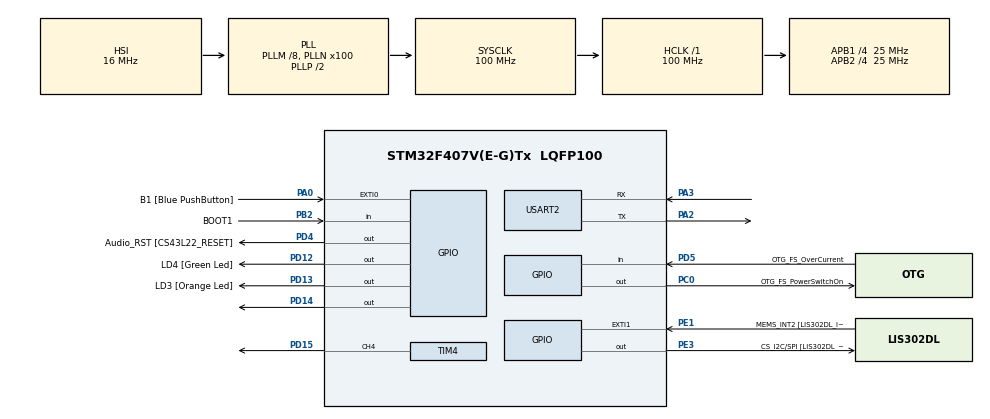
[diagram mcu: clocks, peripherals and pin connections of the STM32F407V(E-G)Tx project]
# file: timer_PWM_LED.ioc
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Mcu.Family=STM32F4
Mcu.Name=STM32F407V(E-G)Tx
Mcu.Package=LQFP100
NVIC.PriorityGroup=NVIC_PRIORITYGROUP_0
NVIC.TIM4_IRQn=true\:0\:0\:false\:false\:true\:true\:true\:true
NVIC.USART2_IRQn=true\:0\:0\:false\:false\:true\:true\:true\:true
PA0-WKUP.GPIO_Label=B1 [Blue PushButton]
PA0-WKUP.Signal=GPXTI0
PA10.GPIO_Label=OTG_FS_ID
PA10.GPIO_Mode=GPIO_MODE_AF_PP
PA10.GPIO_PuPd=GPIO_NOPULL
PA10.GPIO_Speed=GPIO_SPEED_FREQ_LOW
PA10.Signal=USB_OTG_FS_ID
PA11.GPIO_Label=OTG_FS_DM
PA11.GPIO_Mode=GPIO_MODE_AF_PP
PA11.GPIO_PuPd=GPIO_NOPULL
PA11.GPIO_Speed=GPIO_SPEED_FREQ_LOW
PA11.Signal=USB_OTG_FS_DM
PA12.GPIO_Label=OTG_FS_DP
PA12.GPIO_Mode=GPIO_MODE_AF_PP
PA12.GPIO_PuPd=GPIO_NOPULL
PA12.GPIO_Speed=GPIO_SPEED_FREQ_LOW
PA12.Signal=USB_OTG_FS_DP
PA13.GPIO_Label=SWDIO
PA13.Signal=SYS_JTMS-SWDIO
PA14.GPIO_Label=SWCLK
PA14.Signal=SYS_JTCK-SWCLK
PA2.Mode=Asynchronous
PA2.Signal=USART2_TX
PA3.Mode=Asynchronous
PA3.Signal=USART2_RX
PA4.GPIO_Label=I2S3_WS [CS43L22_LRCK]
PA4.GPIO_Mode=GPIO_MODE_AF_PP
PA4.GPIO_PuPd=GPIO_NOPULL
PA4.GPIO_Speed=GPIO_SPEED_FREQ_LOW
PA4.Signal=I2S3_WS
PA5.GPIO_Label=SPI1_SCK [LIS302DL_SCL/SPC]
PA5.GPIO_Mode=GPIO_MODE_AF_PP
PA5.GPIO_PuPd=GPIO_NOPULL
PA5.GPIO_Speed=GPIO_SPEED_FREQ_LOW
PA5.Signal=SPI1_SCK
PA6.GPIO_Label=SPI1_MISO [LIS302DL_SDO]
PA6.GPIO_Mode=GPIO_MODE_AF_PP
PA6.GPIO_PuPd=GPIO_NOPULL
PA6.GPIO_Speed=GPIO_SPEED_FREQ_LOW
PA6.Signal=SPI1_MISO
PA7.GPIO_Label=SPI1_MOSI [LIS302DL_SDA/SDI/SDO]
PA7.GPIO_Mode=GPIO_MODE_AF_PP
PA7.GPIO_PuPd=GPIO_NOPULL
PA7.GPIO_Speed=GPIO_SPEED_FREQ_LOW
PA7.Signal=SPI1_MOSI
PA9.GPIO_Label=VBUS_FS
PA9.GPIO_Mode=GPIO_MODE_INPUT
PA9.GPIO_PuPd=GPIO_NOPULL
PA9.Signal=USB_OTG_FS_VBUS
PB10.GPIO_Label=CLK_IN [MP45DT02_CLK]
PB10.GPIO_Mode=GPIO_MODE_AF_PP
PB10.GPIO_PuPd=GPIO_NOPULL
PB10.GPIO_Speed=GPIO_SPEED_FREQ_LOW
PB10.Signal=I2S2_CK
PB2.GPIO_Label=BOOT1
PB2.GPIO_Mode=GPIO_MODE_INPUT
PB2.GPIO_PuPd=GPIO_NOPULL
PB2.Signal=GPIO_Input
PB3.GPIO_Label=SWO
PB3.Signal=SYS_JTDO-SWO
PB6.GPIO_Label=Audio_SCL [CS43L22_SCL]
PB6.GPIO_Mode=GPIO_MODE_AF_OD
PB6.GPIO_PuPd=GPIO_NOPULL
PB6.GPIO_Speed=GPIO_SPEED_FREQ_LOW
PB6.Signal=I2C1_SCL
PB9.GPIO_Label=Audio_SDA [CS43L22_SDA]
PB9.GPIO_Mode=GPIO_MODE_AF_OD
PB9.GPIO_PuPd=GPIO_NOPULL
PB9.GPIO_Speed=GPIO_SPEED_FREQ_LOW
PB9.Signal=I2C1_SDA
PC0.GPIO_Label=OTG_FS_PowerSwitchOn
PC0.GPIO_PuPd=GPIO_NOPULL
PC0.GPIO_Speed=GPIO_SPEED_FREQ_LOW
PC0.PinState=GPIO_PIN_SET
PC0.Signal=GPIO_Output
PC10.GPIO_Label=I2S3_SCK [CS43L22_SCLK]
PC10.GPIO_Mode=GPIO_MODE_AF_PP
PC10.GPIO_PuPd=GPIO_NOPULL
PC10.GPIO_Speed=GPIO_SPEED_FREQ_LOW
PC10.Signal=I2S3_CK
PC12.GPIO_Label=I2S3_SD [CS43L22_SDIN]
PC12.GPIO_Mode=GPIO_MODE_AF_PP
PC12.GPIO_PuPd=GPIO_NOPULL
PC12.GPIO_Speed=GPIO_SPEED_FREQ_LOW
PC12.Signal=I2S3_SD
PC14-OSC32_IN.GPIO_Label=PC14-OSC32_IN
PC14-OSC32_IN.Signal=RCC_OSC32_IN
PC15-OSC32_OUT.GPIO_Label=PC15-OSC32_OUT
PC15-OSC32_OUT.Signal=RCC_OSC32_OUT
PC3.GPIO_Label=PDM_OUT [MP45DT02_DOUT]
PC3.GPIO_Mode=GPIO_MODE_AF_PP
PC3.GPIO_PuPd=GPIO_NOPULL
PC3.GPIO_Speed=GPIO_SPEED_FREQ_LOW
PC3.Signal=I2S2_SD
PC7.GPIO_Label=I2S3_MCK [CS43L22_MCLK]
PC7.GPIO_Mode=GPIO_MODE_AF_PP
PC7.GPIO_PuPd=GPIO_NOPULL
PC7.GPIO_Speed=GPIO_SPEED_FREQ_LOW
PC7.Signal=I2S3_MCK
PD12.GPIO_Label=LD4 [Green Led]
PD12.GPIO_PuPd=GPIO_NOPULL
PD12.GPIO_Speed=GPIO_SPEED_FREQ_LOW
PD12.Signal=GPIO_Output
PD13.GPIO_Label=LD3 [Orange Led]
PD13.GPIO_PuPd=GPIO_NOPULL
PD13.GPIO_Speed=GPIO_SPEED_FREQ_LOW
PD13.Signal=GPIO_Output
PD14.Signal=GPIO_Output
PD15.Signal=S_TIM4_CH4
PD4.GPIO_Label=Audio_RST [CS43L22_RESET]
PD4.GPIO_PuPd=GPIO_NOPULL
PD4.GPIO_Speed=GPIO_SPEED_FREQ_LOW
PD4.Signal=GPIO_Output
PD5.GPIO_Label=OTG_FS_OverCurrent
PD5.GPIO_Mode=GPIO_MODE_INPUT
PD5.GPIO_PuPd=GPIO_NOPULL
PD5.Signal=GPIO_Input
PE1.GPIO_Label=MEMS_INT2 [LIS302DL_INT2]
PE1.GPIO_ModeDefaultEXTI=GPIO_MODE_EVT_RISING
PE1.GPIO_PuPd=GPIO_NOPULL
PE1.Signal=GPXTI1
PE3.GPIO_Label=CS_I2C/SPI [LIS302DL_CS_I2C/SPI]
PE3.GPIO_PuPd=GPIO_NOPULL
PE3.GPIO_Speed=GPIO_SPEED_FREQ_LOW
PE3.Signal=GPIO_Output
PH0-OSC_IN.GPIO_Label=PH0-OSC_IN
PH0-OSC_IN.Signal=RCC_OSC_IN
PH1-OSC_OUT.GPIO_Label=PH1-OSC_OUT
PH1-OSC_OUT.Signal=RCC_OSC_OUT
ProjectManager.HeapSize=0x200
ProjectManager.StackSize=0x400
ProjectManager.TargetToolchain=STM32CubeIDE
RCC.48MHZClocksFreq_Value=28571428.57142857
RCC.AHBFreq_Value=100000000
RCC.APB1CLKDivider=RCC_HCLK_DIV4
RCC.APB1Freq_Value=25000000
RCC.APB1TimFreq_Value=50000000
RCC.APB2CLKDivider=RCC_HCLK_DIV4
RCC.APB2Freq_Value=25000000
RCC.APB2TimFreq_Value=50000000
RCC.CortexFreq_Value=100000000
RCC.HCLKFreq_Value=100000000
RCC.HSE_VALUE=8000000
RCC.HSI_VALUE=16000000
RCC.LSE_VALUE=32768
RCC.PLLM=8
RCC.PLLN=100
RCC.PLLQ=7
RCC.SYSCLKFreq_VALUE=100000000
RCC.SYSCLKSource=RCC_SYSCLKSOURCE_PLLCLK
RCC.VCOOutputFreq_Value=200000000
SH.S_TIM4_CH4.0=TIM4_CH4,PWM Generation4 CH4
TIM4.AutoReloadPreload=TIM_AUTORELOAD_PRELOAD_ENABLE
TIM4.Channel-PWM\ Generation4\ CH4=TIM_CHANNEL_4
TIM4.Period=9999
TIM4.Prescaler=4
USART2.VirtualMode=VM_ASYNC
VP_TIM4_VS_ClockSourceINT.Mode=Internal
board=STM32F407G-DISC1

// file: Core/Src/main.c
/* USER CODE BEGIN Header */
/**
 ******************************************************************************
 * @file           : main.c
 * @brief          : Main program body
 ******************************************************************************
 * @attention
 *
 * Copyright (c) 2024 STMicroelectronics.
 * All rights reserved.
 *
 * This software is licensed under terms that can be found in the LICENSE file
 * in the root directory of this software component.
 * If no LICENSE file comes with this software, it is provided AS-IS.
 *
 ******************************************************************************
 */
/* USER CODE END Header */
#include "main.h"

/* USER CODE BEGIN Includes */
#include <string.h>
#include <stdio.h>
#include <stdarg.h>
#include <stdlib.h>
/* USER CODE END Includes */

TIM_HandleTypeDef htim4;

UART_HandleTypeDef huart2;

void SystemClock_Config(void);
static void MX_GPIO_Init(void);
static void MX_USART2_UART_Init(void);
static void MX_TIM4_Init(void);
/* USER CODE BEGIN PFP */
void logUART(const char *format, ...);
/* USER CODE END PFP */

/* USER CODE BEGIN 0 */
/**
 * Logging to UART to help debug.
 */
void logUART(const char *format, ...) {
	char usr_msg[100]; // Buffer for the formatted message
	va_list args;

	// Initialize the va_list variable with the last known fixed parameter (in this case, 'format')
	va_start(args, format);

	// Use vsnprintf to safely format the string into usr_msg
	// vsnprintf returns the number of characters that would have been written if usr_msg had been sufficiently large
	vsnprintf(usr_msg, sizeof(usr_msg), format, args);

	// Clean up the va_list when we're done with it
	va_end(args);

	// Transmit the formatted string via UART
	HAL_UART_Transmit(&huart2, (uint8_t*) usr_msg, strlen(usr_msg),
	HAL_MAX_DELAY);
}

/* USER CODE END 0 */

int main(void) {
	/* USER CODE BEGIN 1 */
	// This program will take TIM4 Ch4 output and drive LED.
	// It will gradually increase the led brightness up to 100% within 1 second and decrease it again
	// within 1 second.
	/* USER CODE END 1 */

	/* MCU Configuration--------------------------------------------------------*/

	/* Reset of all peripherals, Initializes the Flash interface and the Systick. */
	HAL_Init();

	/* Configure the system clock */
	SystemClock_Config();

	/* Initialize all configured peripherals */
	MX_GPIO_Init();
	MX_USART2_UART_Init();
	MX_TIM4_Init();
	/* USER CODE BEGIN 2 */
	if (HAL_TIM_Base_Start_IT(&htim4) != HAL_OK) {
		logUART("Error initializing Base!!\r\n");
		Error_Handler();
	}

	if (HAL_TIM_PWM_Start(&htim4, TIM_CHANNEL_4)) {
		logUART("Error initializing OC Ch1!!\r\n");
		Error_Handler();
	}

	/* USER CODE END 2 */

	/* Infinite loop */
	/* USER CODE BEGIN WHILE */
	uint16_t brightness = 0;
	while (1) {
		while (brightness < htim4.Init.Period) {
			brightness += 10;
			// Increase the value of the Compare Capture Register (CCR) register which is the pulse.
			// This means for every interrupt intervals (set to 0.001s or 1 ms)
			// we increase by 10 for brightness
			// it will reach full intensity at 1s.
			// What happen is the counter will match the value of CCR before it toggles back.
			// Once the brightness value reaches the pulse/period == 9999, it will exit this while loop.
			__HAL_TIM_SET_COMPARE(&htim4, TIM_CHANNEL_4, brightness);
			HAL_Delay(1);

		}
		// If we reach here the brightness is already at max (at 9999)
		while (brightness > 0) {
			brightness -= 10;
			__HAL_TIM_SET_COMPARE(&htim4, TIM_CHANNEL_4, brightness);
			HAL_Delay(1);

		}
		/* USER CODE END WHILE */

	}
}

void SystemClock_Config(void) {
	RCC_OscInitTypeDef RCC_OscInitStruct = { 0 };
	RCC_ClkInitTypeDef RCC_ClkInitStruct = { 0 };

	/** Configure the main internal regulator output voltage
	 */
	__HAL_RCC_PWR_CLK_ENABLE();
	__HAL_PWR_VOLTAGESCALING_CONFIG(PWR_REGULATOR_VOLTAGE_SCALE1);

	/** Initializes the RCC Oscillators according to the specified parameters
	 * in the RCC_OscInitTypeDef structure.
	 */
	RCC_OscInitStruct.OscillatorType = RCC_OSCILLATORTYPE_HSI;
	RCC_OscInitStruct.HSIState = RCC_HSI_ON;
	RCC_OscInitStruct.HSICalibrationValue = RCC_HSICALIBRATION_DEFAULT;
	RCC_OscInitStruct.PLL.PLLState = RCC_PLL_ON;
	RCC_OscInitStruct.PLL.PLLSource = RCC_PLLSOURCE_HSI;
	RCC_OscInitStruct.PLL.PLLM = 8;
	RCC_OscInitStruct.PLL.PLLN = 100;
	RCC_OscInitStruct.PLL.PLLP = RCC_PLLP_DIV2;
	RCC_OscInitStruct.PLL.PLLQ = 7;
	if (HAL_RCC_OscConfig(&RCC_OscInitStruct) != HAL_OK) {
		Error_Handler();
	}

	/** Initializes the CPU, AHB and APB buses clocks
	 */
	RCC_ClkInitStruct.ClockType = RCC_CLOCKTYPE_HCLK | RCC_CLOCKTYPE_SYSCLK
			| RCC_CLOCKTYPE_PCLK1 | RCC_CLOCKTYPE_PCLK2;
	RCC_ClkInitStruct.SYSCLKSource = RCC_SYSCLKSOURCE_PLLCLK;
	RCC_ClkInitStruct.AHBCLKDivider = RCC_SYSCLK_DIV1;
	RCC_ClkInitStruct.APB1CLKDivider = RCC_HCLK_DIV4;
	RCC_ClkInitStruct.APB2CLKDivider = RCC_HCLK_DIV4;

	if (HAL_RCC_ClockConfig(&RCC_ClkInitStruct, FLASH_LATENCY_3) != HAL_OK) {
		Error_Handler();
	}
}

static void MX_TIM4_Init(void) {

	TIM_ClockConfigTypeDef sClockSourceConfig = { 0 };
	TIM_MasterConfigTypeDef sMasterConfig = { 0 };
	TIM_OC_InitTypeDef sConfigOC = { 0 };

	/* USER CODE BEGIN TIM4_Init 1 */
	// Set Prescaler to 4 and Period to 10000-1;
	// So that the desired interrupt intervals to 0.001s or 1ms.
	// This means at every 1ms there will be 1 full wave form or signal.
	// That is there will be rising and falling edge.
	// The duration between high and low is determined by the CCR register.
	// Which is the number of pulse we want the tick to reach before it toggles.
	/* USER CODE END TIM4_Init 1 */
	htim4.Instance = TIM4;
	htim4.Init.Prescaler = 4;
	htim4.Init.CounterMode = TIM_COUNTERMODE_UP;
	htim4.Init.Period = 9999;
	htim4.Init.ClockDivision = TIM_CLOCKDIVISION_DIV1;
	htim4.Init.AutoReloadPreload = TIM_AUTORELOAD_PRELOAD_ENABLE;
	if (HAL_TIM_Base_Init(&htim4) != HAL_OK) {
		Error_Handler();
	}
	sClockSourceConfig.ClockSource = TIM_CLOCKSOURCE_INTERNAL;
	if (HAL_TIM_ConfigClockSource(&htim4, &sClockSourceConfig) != HAL_OK) {
		Error_Handler();
	}
	if (HAL_TIM_PWM_Init(&htim4) != HAL_OK) {
		Error_Handler();
	}
	sMasterConfig.MasterOutputTrigger = TIM_TRGO_RESET;
	sMasterConfig.MasterSlaveMode = TIM_MASTERSLAVEMODE_DISABLE;
	if (HAL_TIMEx_MasterConfigSynchronization(&htim4, &sMasterConfig)
			!= HAL_OK) {
		Error_Handler();
	}
	sConfigOC.OCMode = TIM_OCMODE_PWM1;
	sConfigOC.Pulse = 0;
	sConfigOC.OCPolarity = TIM_OCPOLARITY_HIGH;
	sConfigOC.OCFastMode = TIM_OCFAST_DISABLE;
	if (HAL_TIM_PWM_ConfigChannel(&htim4, &sConfigOC, TIM_CHANNEL_4)
			!= HAL_OK) {
		Error_Handler();
	}
	HAL_TIM_MspPostInit(&htim4);

}

static void MX_USART2_UART_Init(void) {

	huart2.Instance = USART2;
	huart2.Init.BaudRate = 115200;
	huart2.Init.WordLength = UART_WORDLENGTH_8B;
	huart2.Init.StopBits = UART_STOPBITS_1;
	huart2.Init.Parity = UART_PARITY_NONE;
	huart2.Init.Mode = UART_MODE_TX_RX;
	huart2.Init.HwFlowCtl = UART_HWCONTROL_NONE;
	huart2.Init.OverSampling = UART_OVERSAMPLING_16;
	if (HAL_UART_Init(&huart2) != HAL_OK) {
		Error_Handler();
	}

}

static void MX_GPIO_Init(void) {
	GPIO_InitTypeDef GPIO_InitStruct = { 0 };

	/* GPIO Ports Clock Enable */
	__HAL_RCC_GPIOE_CLK_ENABLE();
	__HAL_RCC_GPIOC_CLK_ENABLE();
	__HAL_RCC_GPIOH_CLK_ENABLE();
	__HAL_RCC_GPIOA_CLK_ENABLE();
	__HAL_RCC_GPIOB_CLK_ENABLE();
	__HAL_RCC_GPIOD_CLK_ENABLE();

	/*Configure GPIO pin Output Level */
	HAL_GPIO_WritePin(CS_I2C_SPI_GPIO_Port, CS_I2C_SPI_Pin, GPIO_PIN_RESET);

	/*Configure GPIO pin Output Level */
	HAL_GPIO_WritePin(OTG_FS_PowerSwitchOn_GPIO_Port, OTG_FS_PowerSwitchOn_Pin,
			GPIO_PIN_SET);

	/*Configure GPIO pin Output Level */
	HAL_GPIO_WritePin(GPIOD, LD4_Pin | LD3_Pin | GPIO_PIN_14 | Audio_RST_Pin,
			GPIO_PIN_RESET);

	/*Configure GPIO pin : CS_I2C_SPI_Pin */
	GPIO_InitStruct.Pin = CS_I2C_SPI_Pin;
	GPIO_InitStruct.Mode = GPIO_MODE_OUTPUT_PP;
	GPIO_InitStruct.Pull = GPIO_NOPULL;
	GPIO_InitStruct.Speed = GPIO_SPEED_FREQ_LOW;
	HAL_GPIO_Init(CS_I2C_SPI_GPIO_Port, &GPIO_InitStruct);

	/*Configure GPIO pin : OTG_FS_PowerSwitchOn_Pin */
	GPIO_InitStruct.Pin = OTG_FS_PowerSwitchOn_Pin;
	GPIO_InitStruct.Mode = GPIO_MODE_OUTPUT_PP;
	GPIO_InitStruct.Pull = GPIO_NOPULL;
	GPIO_InitStruct.Speed = GPIO_SPEED_FREQ_LOW;
	HAL_GPIO_Init(OTG_FS_PowerSwitchOn_GPIO_Port, &GPIO_InitStruct);

	/*Configure GPIO pin : PDM_OUT_Pin */
	GPIO_InitStruct.Pin = PDM_OUT_Pin;
	GPIO_InitStruct.Mode = GPIO_MODE_AF_PP;
	GPIO_InitStruct.Pull = GPIO_NOPULL;
	GPIO_InitStruct.Speed = GPIO_SPEED_FREQ_LOW;
	GPIO_InitStruct.Alternate = GPIO_AF5_SPI2;
	HAL_GPIO_Init(PDM_OUT_GPIO_Port, &GPIO_InitStruct);

	/*Configure GPIO pin : B1_Pin */
	GPIO_InitStruct.Pin = B1_Pin;
	GPIO_InitStruct.Mode = GPIO_MODE_IT_RISING;
	GPIO_InitStruct.Pull = GPIO_NOPULL;
	HAL_GPIO_Init(B1_GPIO_Port, &GPIO_InitStruct);

	/*Configure GPIO pin : I2S3_WS_Pin */
	GPIO_InitStruct.Pin = I2S3_WS_Pin;
	GPIO_InitStruct.Mode = GPIO_MODE_AF_PP;
	GPIO_InitStruct.Pull = GPIO_NOPULL;
	GPIO_InitStruct.Speed = GPIO_SPEED_FREQ_LOW;
	GPIO_InitStruct.Alternate = GPIO_AF6_SPI3;
	HAL_GPIO_Init(I2S3_WS_GPIO_Port, &GPIO_InitStruct);

	/*Configure GPIO pins : SPI1_SCK_Pin SPI1_MISO_Pin SPI1_MOSI_Pin */
	GPIO_InitStruct.Pin = SPI1_SCK_Pin | SPI1_MISO_Pin | SPI1_MOSI_Pin;
	GPIO_InitStruct.Mode = GPIO_MODE_AF_PP;
	GPIO_InitStruct.Pull = GPIO_NOPULL;
	GPIO_InitStruct.Speed = GPIO_SPEED_FREQ_LOW;
	GPIO_InitStruct.Alternate = GPIO_AF5_SPI1;
	HAL_GPIO_Init(GPIOA, &GPIO_InitStruct);

	/*Configure GPIO pin : BOOT1_Pin */
	GPIO_InitStruct.Pin = BOOT1_Pin;
	GPIO_InitStruct.Mode = GPIO_MODE_INPUT;
	GPIO_InitStruct.Pull = GPIO_NOPULL;
	HAL_GPIO_Init(BOOT1_GPIO_Port, &GPIO_InitStruct);

	/*Configure GPIO pin : CLK_IN_Pin */
	GPIO_InitStruct.Pin = CLK_IN_Pin;
	GPIO_InitStruct.Mode = GPIO_MODE_AF_PP;
	GPIO_InitStruct.Pull = GPIO_NOPULL;
	GPIO_InitStruct.Speed = GPIO_SPEED_FREQ_LOW;
	GPIO_InitStruct.Alternate = GPIO_AF5_SPI2;
	HAL_GPIO_Init(CLK_IN_GPIO_Port, &GPIO_InitStruct);

	/*Configure GPIO pins : LD4_Pin LD3_Pin PD14 Audio_RST_Pin */
	GPIO_InitStruct.Pin = LD4_Pin | LD3_Pin | GPIO_PIN_14 | Audio_RST_Pin;
	GPIO_InitStruct.Mode = GPIO_MODE_OUTPUT_PP;
	GPIO_InitStruct.Pull = GPIO_NOPULL;
	GPIO_InitStruct.Speed = GPIO_SPEED_FREQ_LOW;
	HAL_GPIO_Init(GPIOD, &GPIO_InitStruct);

	/*Configure GPIO pins : I2S3_MCK_Pin I2S3_SCK_Pin I2S3_SD_Pin */
	GPIO_InitStruct.Pin = I2S3_MCK_Pin | I2S3_SCK_Pin | I2S3_SD_Pin;
	GPIO_InitStruct.Mode = GPIO_MODE_AF_PP;
	GPIO_InitStruct.Pull = GPIO_NOPULL;
	GPIO_InitStruct.Speed = GPIO_SPEED_FREQ_LOW;
	GPIO_InitStruct.Alternate = GPIO_AF6_SPI3;
	HAL_GPIO_Init(GPIOC, &GPIO_InitStruct);

	/*Configure GPIO pin : VBUS_FS_Pin */
	GPIO_InitStruct.Pin = VBUS_FS_Pin;
	GPIO_InitStruct.Mode = GPIO_MODE_INPUT;
	GPIO_InitStruct.Pull = GPIO_NOPULL;
	HAL_GPIO_Init(VBUS_FS_GPIO_Port, &GPIO_InitStruct);

	/*Configure GPIO pins : OTG_FS_ID_Pin OTG_FS_DM_Pin OTG_FS_DP_Pin */
	GPIO_InitStruct.Pin = OTG_FS_ID_Pin | OTG_FS_DM_Pin | OTG_FS_DP_Pin;
	GPIO_InitStruct.Mode = GPIO_MODE_AF_PP;
	GPIO_InitStruct.Pull = GPIO_NOPULL;
	GPIO_InitStruct.Speed = GPIO_SPEED_FREQ_LOW;
	GPIO_InitStruct.Alternate = GPIO_AF10_OTG_FS;
	HAL_GPIO_Init(GPIOA, &GPIO_InitStruct);

	/*Configure GPIO pin : OTG_FS_OverCurrent_Pin */
	GPIO_InitStruct.Pin = OTG_FS_OverCurrent_Pin;
	GPIO_InitStruct.Mode = GPIO_MODE_INPUT;
	GPIO_InitStruct.Pull = GPIO_NOPULL;
	HAL_GPIO_Init(OTG_FS_OverCurrent_GPIO_Port, &GPIO_InitStruct);

	/*Configure GPIO pins : Audio_SCL_Pin Audio_SDA_Pin */
	GPIO_InitStruct.Pin = Audio_SCL_Pin | Audio_SDA_Pin;
	GPIO_InitStruct.Mode = GPIO_MODE_AF_OD;
	GPIO_InitStruct.Pull = GPIO_NOPULL;
	GPIO_InitStruct.Speed = GPIO_SPEED_FREQ_LOW;
	GPIO_InitStruct.Alternate = GPIO_AF4_I2C1;
	HAL_GPIO_Init(GPIOB, &GPIO_InitStruct);

	/*Configure GPIO pin : MEMS_INT2_Pin */
	GPIO_InitStruct.Pin = MEMS_INT2_Pin;
	GPIO_InitStruct.Mode = GPIO_MODE_EVT_RISING;
	GPIO_InitStruct.Pull = GPIO_NOPULL;
	HAL_GPIO_Init(MEMS_INT2_GPIO_Port, &GPIO_InitStruct);

}

void Error_Handler(void) {
	__disable_irq();
	while (1) {
	}
}
